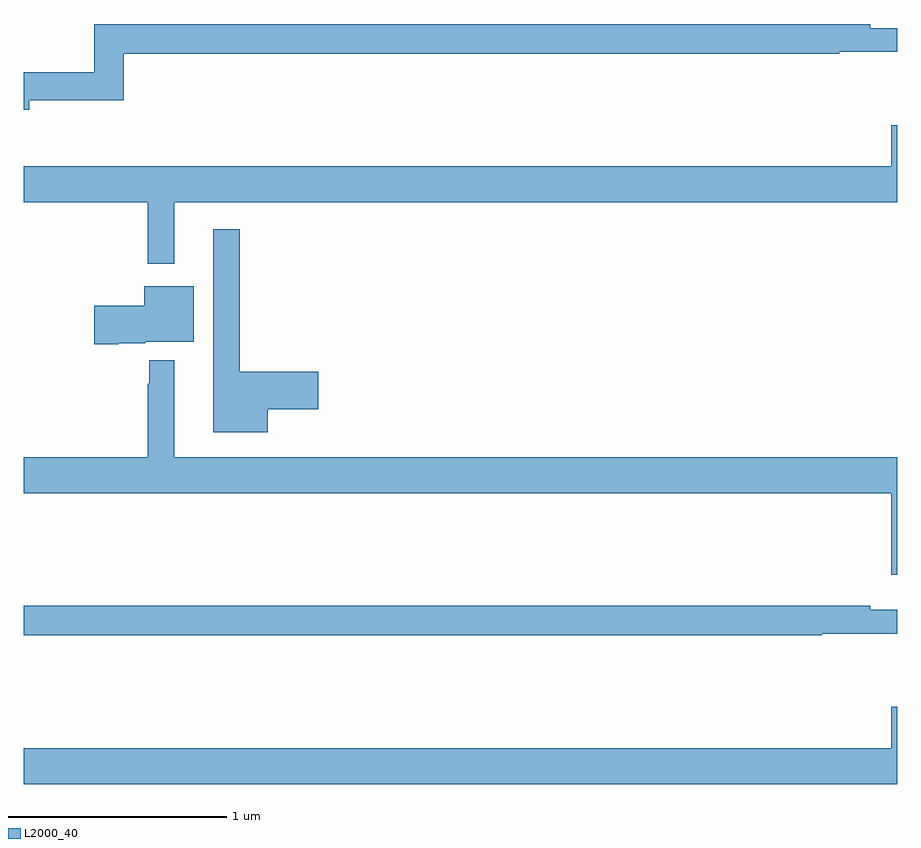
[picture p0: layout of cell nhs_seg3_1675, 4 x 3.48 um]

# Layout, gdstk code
import gdstk
lib = gdstk.Library(unit=1e-6, precision=1e-09)
def P(c, l, *ps):  # polygons
    for p in ps: c.add(gdstk.Polygon(p, *l))
L2000_40 = (2000, 40)

nhs_seg3_1675 = lib.new_cell('nhs_seg3_1675')
P(nhs_seg3_1675, L2000_40, [(197.026,724.026),(197.459,724.026),(197.459,724.24),(200.734,724.24),(200.734,724.248),(201,724.248),(201,724.357),(200.876,724.357),(200.876,724.376),(197.323,724.376),(197.323,724.154),(197,724.154),(197,723.983),(197.026,723.983)],
  [(197.689,723.56),(201,723.56),(201,723.913),(200.972,723.913),(200.972,723.724),(197,723.724),(197,723.56),(197.568,723.56),(197.568,723.279),(197.689,723.279)],
  [(198.118,722.612),(198.349,722.612),(198.349,722.783),(197.989,722.783),(197.989,723.436),(197.867,723.436),(197.867,722.507),(198.118,722.507)],
  [(197.434,722.915),(197.556,722.915),(197.556,722.921),(197.779,722.921),(197.779,723.175),(197.552,723.175),(197.552,723.087),(197.322,723.087),(197.322,722.909),(197.434,722.909)],
  [(201,722.392),(197.689,722.392),(197.689,722.836),(197.575,722.836),(197.575,722.729),(197.568,722.729),(197.568,722.392),(197,722.392),(197,722.228),(200.972,722.228),(200.972,721.854),(201,721.854)],
  [(200.655,721.584),(201,721.584),(201,721.693),(200.876,721.693),(200.876,721.712),(197,721.712),(197,721.576),(200.655,721.576)],
  [(201,721.249),(200.972,721.249),(200.972,721.06),(197,721.06),(197,720.896),(201,720.896)])

lib.write_gds('nhs_seg3_1675.gds')
